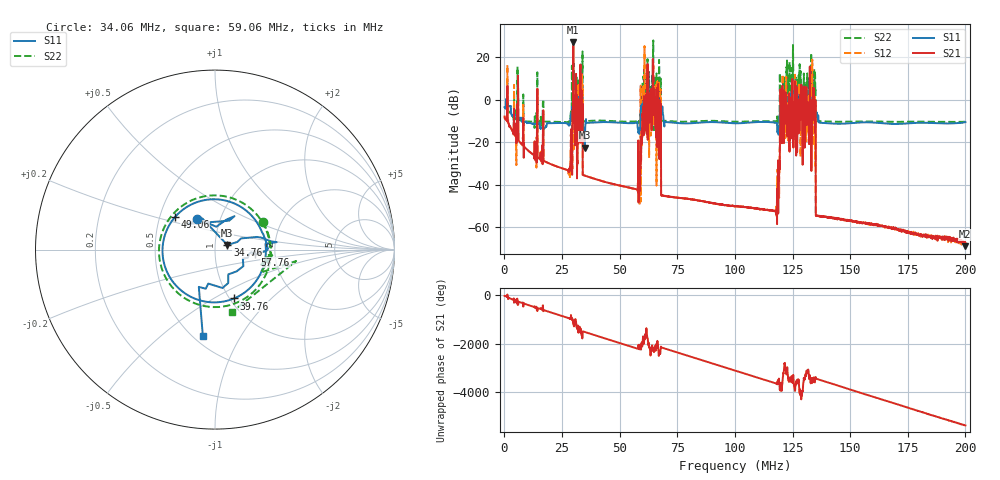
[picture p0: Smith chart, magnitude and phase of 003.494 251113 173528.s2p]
# HZ S DB R 50
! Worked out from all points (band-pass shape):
!   2000 points, 50 kHz to 200 MHz, reference 50 ohm
!   highest |S21| = 26.81 dB at 29.86 MHz (marker M1); lowest = -68.9 dB at 199.9 MHz (marker M2)
!   |S21| within 3 dB of the highest: 29.84625 MHz to 29.86889 MHz (22.64 kHz wide, 0.0758 % of centre)
!   lowest |S11| = -22.7 dB at 34.76 MHz (marker M3), VSWR 1.16, Z = 57.3 + j2.96 ohm
!   |S11| at or under -10 dB: 35.4 MHz to 59.01 MHz (23.6 MHz wide, 50 % of centre); 69.1 MHz to 119.3 MHz (50.22 MHz wide, 53.3 % of centre); 136.3 MHz to end of sweep (the widest 3 of 5)
!   |S22| runs from -18.5 to 27.8 dB; largest |S21 - S12| = 22
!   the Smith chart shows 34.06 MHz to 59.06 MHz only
!   S11 on the Smith chart (normalised r, x): 34.06 MHz: 0.78, +0.28; 34.76 MHz: 1.15, +0.06; 39.76 MHz: 1.05, -0.62; 49.06 MHz: 0.60, +0.24; 57.76 MHz: 1.57, -0.09; 59.06 MHz: 0.56, -0.70
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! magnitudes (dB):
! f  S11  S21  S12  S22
! 50 kHz  -3.6  -8.0  -8.0  -3.5
! 27.36 MHz  -11.5  -33.1  -33.1  -10.6
! 29.86 MHz  0.2  26.8  -5.3  4.7
! 33.46 MHz  -7.8  -16.0  -1.2  7.3
! 34.06 MHz  -14.1  -35.4  -35.4  -10.3
! 34.76 MHz  -22.7  -35.7  -35.7  -10.2
! 39.76 MHz  -10.7  -37.5  -37.5  -9.9
! 49.06 MHz  -10.8  -40.2  -40.2  -10.3
! 57.76 MHz  -13.0  -42.2  -42.3  -10.2
! 59.06 MHz  -6.3  -26.5  6.6  -8.9
! 60.57 MHz  -2.5  1.6  -7.7  14.2
! 66.77 MHz  0.9  -10.8  -8.6  3.2
! 68.97 MHz  -9.0  -45.3  -45.1  -10.0
! 100.1 MHz  -11.2  -50.2  -50.1  -10.4
! 117.2 MHz  -10.9  -52.2  -52.3  -10.2
! 120.7 MHz  -1.4  0.1  11.8  0.4
! 133.4 MHz  -0.2  -13.1  -12.1  4.6
! 134.3 MHz  -1.4  5.5  -5.9  6.7
! 136.1 MHz  -7.4  -54.6  -54.7  -10.2
! 166.7 MHz  -11.4  -60.1  -59.7  -10.5
! 199.9 MHz  -10.6  -68.9  -66.9  -10.4
! 200 MHz  -10.6  -67.3  -68.2  -10.4
